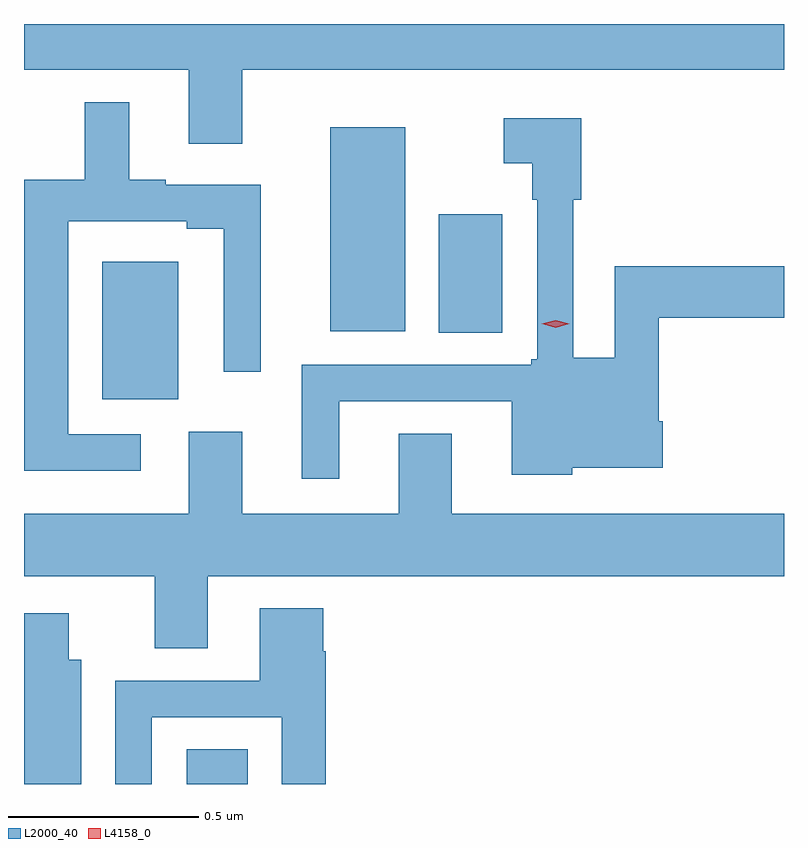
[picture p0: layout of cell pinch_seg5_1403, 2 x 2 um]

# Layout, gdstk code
import gdstk
lib = gdstk.Library(unit=1e-6, precision=1e-09)
def R(c, l, rs):  # rectangles x0, y0, x1, y1
    for r in rs: c.add(gdstk.rectangle(r[:2], r[2:], *l))
def P(c, l, *ps):  # polygons
    for p in ps: c.add(gdstk.Polygon(p, *l))
L2000_40 = (2000, 40)
L4158_0 = (4158, 0)

pinch_seg5_1403 = lib.new_cell('pinch_seg5_1403')
R(pinch_seg5_1403, L2000_40, [(350.507,880.189,350.668,880.28), (350.285,881.201,350.485,881.563), (351.17,881.377,351.337,881.689), (350.885,881.381,351.082,881.917)])
P(pinch_seg5_1403, L2000_40, [(350.653,882.068),(352.079,882.068),(352.079,882.189),(350.079,882.189),(350.079,882.068),(350.513,882.068),(350.513,881.874),(350.653,881.874)],
  [(350.386,881.109),(350.196,881.109),(350.196,881.67),(350.507,881.67),(350.507,881.65),(350.604,881.65),(350.604,881.274),(350.702,881.274),(350.702,881.766),(350.452,881.766),(350.452,881.779),(350.356,881.779),(350.356,881.983),(350.239,881.983),(350.239,881.779),(350.08,881.779),(350.08,881.013),(350.386,881.013)],
  [(350.908,881.196),(351.362,881.196),(351.362,881.003),(351.522,881.003),(351.522,881.021),(351.76,881.021),(351.76,881.143),(351.749,881.143),(351.749,881.416),(352.079,881.416),(352.079,881.552),(351.633,881.552),(351.633,881.311),(351.525,881.311),(351.525,881.726),(351.545,881.726),(351.545,881.941),(351.342,881.941),(351.342,881.822),(351.417,881.822),(351.417,881.726),(351.429,881.726),(351.429,881.307),(351.414,881.307),(351.414,881.292),(350.81,881.292),(350.81,880.992),(350.908,880.992)],
  [(350.563,880.736),(352.079,880.736),(352.079,880.9),(351.205,880.9),(351.205,881.111),(351.065,881.111),(351.065,880.9),(350.653,880.9),(350.653,881.116),(350.513,881.116),(350.513,880.9),(350.079,880.9),(350.079,880.736),(350.423,880.736),(350.423,880.546),(350.563,880.546)],
  [(350.415,880.365),(350.757,880.365),(350.757,880.189),(350.873,880.189),(350.873,880.538),(350.867,880.538),(350.867,880.651),(350.699,880.651),(350.699,880.461),(350.319,880.461),(350.319,880.189),(350.415,880.189)],
  [(350.23,880.516),(350.197,880.516),(350.197,880.639),(350.079,880.639),(350.079,880.189),(350.23,880.189)])
P(pinch_seg5_1403, L4158_0, [(351.478,881.39),(351.442,881.4),(351.442,881.4),(351.442,881.4),(351.478,881.41),(351.514,881.4),(351.514,881.4),(351.514,881.4)])

lib.write_gds('pinch_seg5_1403.gds')
